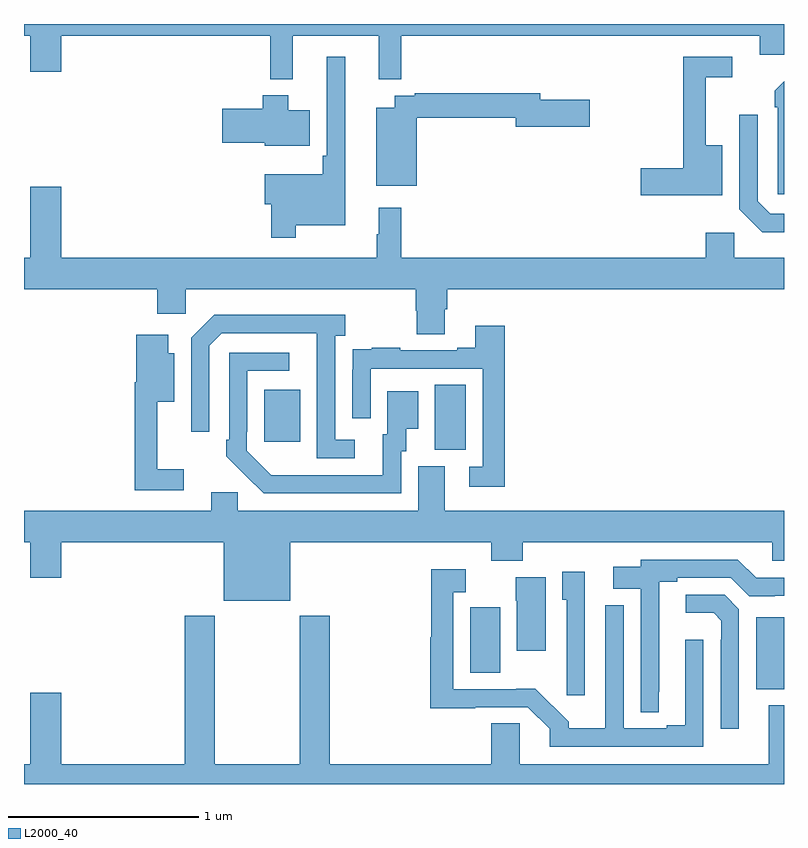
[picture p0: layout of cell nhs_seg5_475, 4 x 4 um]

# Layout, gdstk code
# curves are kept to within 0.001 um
import gdstk
lib = gdstk.Library(unit=1e-6, precision=1e-09)
def R(c, l, rs):  # rectangles x0, y0, x1, y1
    for r in rs: c.add(gdstk.rectangle(r[:2], r[2:], *l))
def P(c, l, *ps):  # polygons
    for p in ps: c.add(gdstk.Polygon(p, *l))
L2000_40 = (2000, 40)

nhs_seg5_475 = lib.new_cell('nhs_seg5_475')
R(nhs_seg5_475, L2000_40, [(144.854,877.298,145,877.677), (143.348,877.384,143.506,877.729), (143.162,878.557,143.326,878.9), (142.265,878.601,142.453,878.875)])
P(nhs_seg5_475, L2000_40, [(141,880.736),(141.032,880.736),(141.032,880.548),(141.196,880.548),(141.196,880.736),(142.297,880.736),(142.297,880.508),(142.415,880.508),(142.415,880.736),(142.868,880.736),(142.868,880.507),(142.985,880.507),(142.985,880.736),(144.872,880.736),(144.872,880.638),(145,880.638),(145,880.799),(141,880.799)],
  [(142.429,879.74),(142.69,879.74),(142.69,880.627),(142.593,880.627),(142.593,880.105),(142.573,880.105),(142.573,880.009),(142.266,880.009),(142.266,879.851),(142.3,879.851),(142.3,879.675),(142.429,879.675)],
  [(144.676,880.162),(144.587,880.162),(144.587,880.518),(144.727,880.518),(144.727,880.626),(144.469,880.626),(144.469,880.04),(144.246,880.04),(144.246,879.898),(144.676,879.898)],
  [(145,880.498),(144.951,880.449),(144.951,880.361),(144.966,880.361),(144.966,879.903),(145,879.903)],
  [(143.068,880.306),(143.588,880.306),(143.588,880.259),(143.977,880.259),(143.977,880.401),(143.716,880.401),(143.716,880.435),(143.056,880.435),(143.056,880.422),(142.952,880.422),(142.952,880.357),(142.853,880.357),(142.853,879.947),(143.068,879.947)],
  [(142.504,880.345),(142.39,880.345),(142.39,880.423),(142.256,880.423),(142.256,880.353),(142.044,880.353),(142.044,880.175),(142.268,880.175),(142.268,880.157),(142.504,880.157)],
  [(145,879.801),(144.927,879.801),(144.861,879.867),(144.861,880.321),(144.765,880.321),(144.765,879.825),(144.886,879.704),(145,879.704)],
  [(143.215,879.298),(143.228,879.298),(143.228,879.404),(145,879.404),(145,879.568),(144.738,879.568),(144.738,879.7),(144.587,879.7),(144.587,879.568),(142.985,879.568),(142.985,879.832),(142.868,879.832),(142.868,879.692),(142.857,879.692),(142.857,879.568),(141.196,879.568),(141.196,879.943),(141.032,879.943),(141.032,879.568),(141,879.568),(141,879.404),(141.701,879.404),(141.701,879.273),(141.852,879.273),(141.852,879.404),(143.063,879.404),(143.063,879.291),(143.068,879.291),(143.068,879.166),(143.215,879.166)],
  [(142.741,878.61),(142.638,878.61),(142.638,879.158),(142.69,879.158),(142.69,879.268),(142,879.268),(141.879,879.147),(141.879,878.652),(141.975,878.652),(141.975,879.105),(142.041,879.171),(142.541,879.171),(142.542,878.514),(142.741,878.514)],
  [(143.531,879.211),(143.375,879.211),(143.375,879.094),(143.279,879.094),(143.279,879.081),(142.979,879.081),(142.979,879.094),(142.831,879.094),(142.831,879.087),(142.729,879.087),(142.729,878.978),(142.728,878.978),(142.728,878.724),(142.824,878.724),(142.824,878.985),(143.415,878.985),(143.415,878.469),(143.343,878.469),(143.343,878.364),(143.531,878.364)],
  [(141.841,878.455),(141.701,878.455),(141.701,878.81),(141.79,878.81),(141.79,879.067),(141.76,879.067),(141.76,879.163),(141.59,879.163),(141.59,878.914),(141.583,878.914),(141.583,878.346),(141.841,878.346)],
  [(142.986,878.55),(143.011,878.55),(143.011,878.669),(143.074,878.669),(143.074,878.866),(142.913,878.866),(142.913,878.64),(142.889,878.64),(142.889,878.424),(142.302,878.425),(142.173,878.553),(142.173,878.653),(142.176,878.653),(142.176,878.973),(142.396,878.973),(142.396,879.069),(142.08,879.069),(142.08,878.611),(142.065,878.611),(142.065,878.523),(142.262,878.328),(142.986,878.328)],
  [(142.402,878.072),(143.459,878.072),(143.459,877.973),(143.624,877.973),(143.624,878.072),(144.938,878.072),(144.938,877.973),(145,877.973),(145,878.236),(143.215,878.236),(143.215,878.472),(143.075,878.472),(143.075,878.236),(142.125,878.236),(142.125,878.334),(141.986,878.334),(141.986,878.236),(141,878.236),(141,878.072),(141.032,878.072),(141.032,877.884),(141.196,877.884),(141.196,878.072),(142.052,878.072),(142.052,877.763),(142.402,877.763)],
  [(144.342,877.285),(144.343,877.864),(144.439,877.864),(144.439,877.884),(144.72,877.884),(144.816,877.788),(144.952,877.788),(144.952,877.79),(145,877.79),(145,877.884),(144.853,877.884),(144.757,877.98),(144.246,877.98),(144.246,877.942),(144.102,877.942),(144.102,877.826),(144.246,877.826),(144.246,877.177),(144.342,877.177)],
  [(144.576,877.558),(144.479,877.558),(144.479,877.107),(144.383,877.107),(144.383,877.092),(144.156,877.092),(144.156,877.741),(144.06,877.741),(144.06,877.093),(143.866,877.093),(143.866,877.127),(143.692,877.301),(143.591,877.301),(143.591,877.299),(143.259,877.299),(143.259,877.809),(143.326,877.809),(143.326,877.93),(143.143,877.93),(143.143,877.572),(143.139,877.572),(143.139,877.198),(143.375,877.198),(143.375,877.203),(143.652,877.203),(143.766,877.09),(143.766,876.996),(144.576,876.996)],
  [(143.952,877.915),(143.834,877.915),(143.834,877.77),(143.856,877.77),(143.856,877.266),(143.952,877.266)],
  [(143.746,877.888),(143.588,877.888),(143.588,877.764),(143.594,877.764),(143.594,877.5),(143.746,877.5)],
  [(144.762,877.719),(144.687,877.794),(144.483,877.794),(144.483,877.7),(144.629,877.7),(144.669,877.659),(144.669,877.559),(144.666,877.559),(144.666,877.089),(144.762,877.089)],
  [(142.61,877.684),(142.45,877.684),(142.45,876.904),(142.005,876.904),(142.005,877.684),(141.845,877.684),(141.845,876.904),(141.196,876.904),(141.196,877.279),(141.032,877.279),(141.032,876.904),(141,876.904),(141,876.799),(145,876.799),(145,877.213),(144.92,877.213),(144.92,876.904),(143.61,876.904),(143.61,877.118),(143.459,877.118),(143.459,876.904),(142.61,876.904)])

lib.write_gds('nhs_seg5_475.gds')
